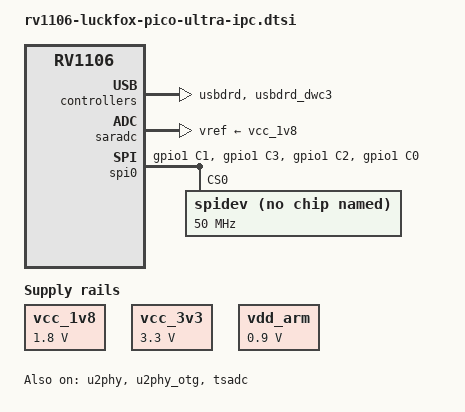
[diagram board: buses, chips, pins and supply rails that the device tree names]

// SPDX-License-Identifier: (GPL-2.0+ OR MIT)
/*
 * Copyright (c) 2022 Rockchip Electronics Co., Ltd.
 */

#include <dt-bindings/input/input.h>

/ {
	chosen {
		bootargs = "earlycon=uart8250,mmio32,0xff4c0000 console=ttyFIQ0 root=/dev/mmcblk0p7 rootwait snd_soc_core.prealloc_buffer_size_kbytes=16 coherent_pool=0";
	};

	vcc_1v8: vcc-1v8 {
		compatible = "regulator-fixed";
		regulator-name = "vcc_1v8";
		regulator-always-on;
		regulator-boot-on;
		regulator-min-microvolt = <1800000>;
		regulator-max-microvolt = <1800000>;
	};

	vcc_3v3: vcc-3v3 {
		compatible = "regulator-fixed";
		regulator-name = "vcc_3v3";
		regulator-always-on;
		regulator-boot-on;
		regulator-min-microvolt = <3300000>;
		regulator-max-microvolt = <3300000>;
	};

	vdd_arm: vdd-arm {
		compatible = "regulator-fixed";
		regulator-name = "vdd_arm";
		regulator-always-on;
		regulator-boot-on;
		regulator-min-microvolt = <900000>;
		regulator-max-microvolt = <900000>;
	};
};

/***************************** USB *********************************/
&u2phy {
	status = "okay";
};

&u2phy_otg {
	status = "okay";
};

&usbdrd {
	status = "okay";
};

&usbdrd_dwc3 {
	extcon = <&u2phy>;
	status = "okay";
};

&cpu0 {
	cpu-supply = <&vdd_arm>;
};

/***************************** ADC ********************************/
&saradc {
	status = "okay";
	vref-supply = <&vcc_1v8>;
};

&tsadc {
	status = "okay";
};

/**************************** PINCTRL ******************************/
// SPI
&spi0 {
	pinctrl-0 = <&spi0m0_clk &spi0m0_miso &spi0m0_mosi &spi0m0_cs0>;
	#address-cells = <1>;
	#size-cells = <0>;
	spidev@0 {
		compatible = "rockchip,spidev";
		spi-max-frequency = <50000000>;
		reg = <0>;
	};
};

// I2C
&i2c1 {
	pinctrl-0 = <&i2c1m1_xfer>;
};
&i2c2 {
	pinctrl-0 = <&i2c2m0_xfer>;
};

// UART
&uart0 {
	pinctrl-0 = <&uart0m0_xfer &uart0m1_xfer>;
};
&uart1 {
	pinctrl-0 = <&uart1m1_xfer>;
};
&uart3 {
	pinctrl-0 = <&uart3m0_xfer &uart3m1_xfer>;
};
&uart4 {
	pinctrl-0 = <&uart4m0_xfer &uart4m1_xfer>;
};
&uart5 {
	pinctrl-0 = <&uart5m1_xfer>;
};

&pinctrl {
	spi0 {
		spi0m0_clk: spi0m0-clk {
			rockchip,pins = <1 RK_PC1 4 &pcfg_pull_none>;
		};
		spi0m0_mosi: spi0m0-mosi {
			rockchip,pins = <1 RK_PC2 6 &pcfg_pull_none>;
		};
		spi0m0_miso: spi0m0-miso {
			rockchip,pins = <1 RK_PC3 6 &pcfg_pull_none>;
		};
		spi0m0_cs0: spi0m0-cs0 {
			rockchip,pins = <1 RK_PC0 4 &pcfg_pull_none>;
		};
	};
};
